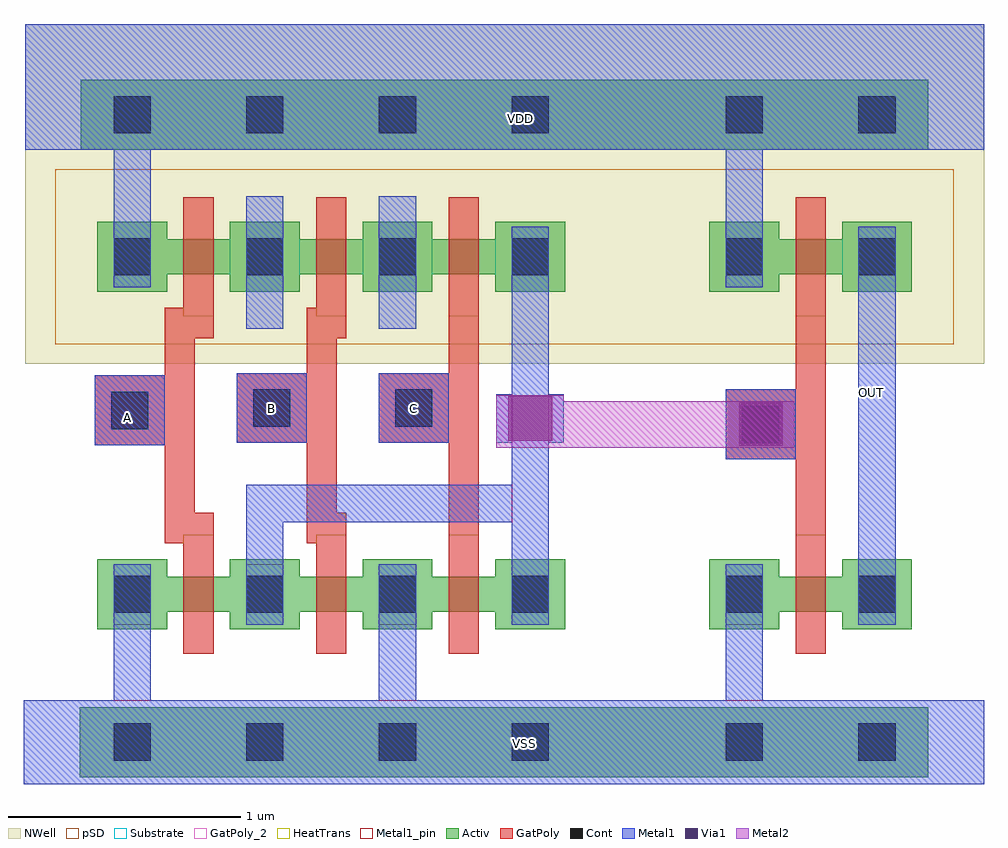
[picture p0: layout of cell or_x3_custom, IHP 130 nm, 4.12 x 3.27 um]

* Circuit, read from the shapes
.subckt or_x3_custom A B C OUT VDD VSS
XM1 nor_x3_custom_0/OUT A VSS VSS sg13_lv_nmos w=0.15u l=0.13u
XM2 VSS B nor_x3_custom_0/OUT VSS sg13_lv_nmos w=0.15u l=0.13u
XM3 nor_x3_custom_0/OUT C VSS VSS sg13_lv_nmos w=0.15u l=0.13u
XM4 OUT nor_x3_custom_0/OUT VSS VSS sg13_lv_nmos w=0.15u l=0.13u
XM5 n1 A VDD VDD sg13_lv_pmos w=0.15u l=0.13u
XM6 n2 B n1 VDD sg13_lv_pmos w=0.15u l=0.13u
XM7 nor_x3_custom_0/OUT C n2 VDD sg13_lv_pmos w=0.15u l=0.13u
XM8 OUT nor_x3_custom_0/OUT VDD VDD sg13_lv_pmos w=0.15u l=0.13u
.ends

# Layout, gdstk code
from math import pi, radians
import gdstk
lib = gdstk.Library(unit=1e-6, precision=5e-09)
def R(c, l, rs):  # rectangles x0, y0, x1, y1
    for r in rs: c.add(gdstk.rectangle(r[:2], r[2:], *l))
def A(c, l, x, y, w, h, nx, ny, dx, dy):  # array of equal rectangles
    R(c, l, [(x+i*dx, y+j*dy, x+i*dx+w, y+j*dy+h) for i in range(nx) for j in range(ny)])
Activ = (1, 0)
GatPoly = (5, 0)
GatPoly_2 = (5, 2)
Cont = (6, 0)
Metal1 = (8, 0)
Metal1_pin = (8, 2)
Metal2 = (10, 0)
pSD = (14, 0)
Via1 = (19, 0)
NWell = (31, 0)
Substrate = (40, 0)
HeatTrans = (51, 0)

pmos = lib.new_cell('pmos')
R(pmos, Activ, [(0,0,0.3,0.3), (0.57,0,0.87,0.3), (0,0.075,0.87,0.225)])
R(pmos, GatPoly, [(0.37,-0.105,0.5,0.405), (0.37,-0.105,0.5,0.405)])
R(pmos, Cont, [(0.07,0.07,0.23,0.23), (0.64,0.07,0.8,0.23)])
R(pmos, Metal1, [(0.07,0.02,0.23,0.28), (0.07,0.02,0.23,0.28), (0.64,0.02,0.8,0.28), (0.64,0.02,0.8,0.28)])
R(pmos, pSD, [(-0.18,-0.225,1.05,0.525)])
R(pmos, NWell, [(-0.31,-0.31,1.18,0.61)])
R(pmos, Substrate, [(0.57,0,0.87,0.3)])
R(pmos, HeatTrans, [(0.37,-0.105,0.5,0.405)])
pmos.add(gdstk.Label('pmos', (0.435,0.15), layer=63, texttype=0))
pmos.add(gdstk.Label('pmos', (0.435,0.15), layer=51, texttype=0))

nmos = lib.new_cell('nmos')
R(nmos, Activ, [(0,0,0.3,0.3), (0.57,0,0.87,0.3), (0,0.075,0.87,0.225)])
R(nmos, GatPoly, [(0.37,-0.105,0.5,0.405)])
R(nmos, GatPoly_2, [(0.37,-0.105,0.5,0.405)])
R(nmos, Cont, [(0.07,0.07,0.23,0.23), (0.64,0.07,0.8,0.23)])
R(nmos, Metal1, [(0.07,0.02,0.23,0.28), (0.64,0.02,0.8,0.28)])
R(nmos, Metal1_pin, [(0.07,0.02,0.23,0.28), (0.64,0.02,0.8,0.28)])
R(nmos, HeatTrans, [(0.37,-0.105,0.5,0.405)])
nmos.add(gdstk.Label('nmos', (0.435,0.15), layer=63, texttype=0))
nmos.add(gdstk.Label('nmos', (0.435,0.15), layer=51, texttype=0))

nor_x3_custom = lib.new_cell('nor_x3_custom')
R(nor_x3_custom, Activ, [(1.225,0.545,3.37,0.845), (1.23,3.24,3.38,3.54)])
R(nor_x3_custom, GatPoly, [(2.81,1.075,2.94,3.035), (1.59,1.55,1.72,2.56), (1.59,1.55,1.8,1.68), (2.2,1.55,2.37,1.68), (2.2,1.55,2.33,2.56), (1.29,1.97,1.59,2.27), (1.9,1.98,2.2,2.28), (2.51,1.98,2.81,2.28), (1.59,2.43,1.8,2.56), (2.2,2.43,2.37,2.56)])
A(nor_x3_custom, Cont, 1.37, 0.615, 0.16, 0.16, 4, 2, 0.57, 2.695)
R(nor_x3_custom, Cont, [(1.36,2.04,1.52,2.2), (1.97,2.05,2.13,2.21), (2.58,2.05,2.74,2.21)])
R(nor_x3_custom, Metal1, [(0.985,0.515,3.615,0.875), (1.37,0.545,1.53,1.46), (2.51,0.545,2.67,1.46), (1.94,1.2,2.1,1.8), (3.08,1.2,3.24,2.91), (1.94,1.64,3.24,1.8), (1.29,1.97,1.59,2.27), (1.9,1.98,2.2,2.28), (2.51,1.98,2.81,2.28), (1.94,2.47,2.1,3.04), (2.51,2.47,2.67,3.04), (1.37,2.65,1.53,3.54), (0.99,3.24,3.62,3.78)])
R(nor_x3_custom, Metal1_pin, [(0.985,0.515,3.615,0.875), (3.08,1.22,3.24,2.91), (1.29,1.97,1.59,2.27), (1.9,1.98,2.2,2.28), (2.51,1.98,2.81,2.28), (0.99,3.24,3.62,3.78)])
R(nor_x3_custom, pSD, [(0.985,0.515,3.615,0.875)])
R(nor_x3_custom, NWell, [(0.99,3.24,3.62,3.78)])
nor_x3_custom.add(gdstk.Reference(pmos, (1.87,2.63)))
nor_x3_custom.add(gdstk.Reference(pmos, (2.44,2.63)))
nor_x3_custom.add(gdstk.Reference(nmos, (2.44,1.18)))
nor_x3_custom.add(gdstk.Reference(nmos, (2.74,1.48), rotation=pi))
nor_x3_custom.add(gdstk.Reference(pmos, (1.3,2.63)))
nor_x3_custom.add(gdstk.Reference(nmos, (1.3,1.18)))
nor_x3_custom.add(gdstk.Label('VSS', (1.995,0.665), layer=8, texttype=25))
nor_x3_custom.add(gdstk.Label('VDD', (1.985,3.345), layer=8, texttype=25))
nor_x3_custom.add(gdstk.Label('OUT', (3.095,2.33), layer=8, texttype=25))
nor_x3_custom.add(gdstk.Label('A', (1.42,2.09), layer=8, texttype=25))
nor_x3_custom.add(gdstk.Label('B', (2.045,2.095), layer=8, texttype=25))
nor_x3_custom.add(gdstk.Label('C', (2.61,2.1), layer=8, texttype=25))

pmos_1 = lib.new_cell('pmos$1')
R(pmos_1, Activ, [(0,0,0.3,0.3), (0.57,0,0.87,0.3), (0,0.075,0.87,0.225)])
R(pmos_1, GatPoly, [(0.37,-0.105,0.5,0.405), (0.37,-0.105,0.5,0.405)])
R(pmos_1, Cont, [(0.07,0.07,0.23,0.23), (0.64,0.07,0.8,0.23)])
R(pmos_1, Metal1, [(0.07,0.02,0.23,0.28), (0.07,0.02,0.23,0.28), (0.64,0.02,0.8,0.28), (0.64,0.02,0.8,0.28)])
R(pmos_1, pSD, [(-0.18,-0.225,1.05,0.525)])
R(pmos_1, NWell, [(-0.31,-0.31,1.18,0.61)])
R(pmos_1, Substrate, [(0.57,0,0.87,0.3)])
R(pmos_1, HeatTrans, [(0.37,-0.105,0.5,0.405)])
pmos_1.add(gdstk.Label('pmos', (0.435,0.15), layer=63, texttype=0))
pmos_1.add(gdstk.Label('pmos', (0.435,0.15), layer=51, texttype=0))

nmos_1 = lib.new_cell('nmos$1')
R(nmos_1, Activ, [(0,0,0.3,0.3), (0.57,0,0.87,0.3), (0,0.075,0.87,0.225)])
R(nmos_1, GatPoly, [(0.37,-0.105,0.5,0.405)])
R(nmos_1, GatPoly_2, [(0.37,-0.105,0.5,0.405)])
R(nmos_1, Cont, [(0.07,0.07,0.23,0.23), (0.64,0.07,0.8,0.23)])
R(nmos_1, Metal1, [(0.07,0.02,0.23,0.28), (0.64,0.02,0.8,0.28)])
R(nmos_1, Metal1_pin, [(0.07,0.02,0.23,0.28), (0.64,0.02,0.8,0.28)])
R(nmos_1, HeatTrans, [(0.37,-0.105,0.5,0.405)])
nmos_1.add(gdstk.Label('nmos', (0.435,0.15), layer=63, texttype=0))
nmos_1.add(gdstk.Label('nmos', (0.435,0.15), layer=51, texttype=0))

inv = lib.new_cell('inv')
R(inv, Activ, [(0.48,-0.04,1.49,0.26), (0.48,2.655,1.49,2.955)])
R(inv, GatPoly, [(0.92,0.76,1.05,2.45), (0.62,1.325,0.92,1.625)])
R(inv, Cont, [(0.62,0.03,0.78,0.19), (1.19,0.03,1.35,0.19), (0.69,1.395,0.85,1.555), (0.62,2.725,0.78,2.885), (1.19,2.725,1.35,2.885)])
R(inv, Metal1, [(0.24,-0.07,1.73,0.29), (0.62,-0.04,0.78,0.875), (1.19,0.615,1.35,2.325), (0.62,1.325,0.92,1.625), (0.62,2.065,0.78,2.955), (0.24,2.655,1.73,3.195)])
R(inv, Metal1_pin, [(0.24,-0.07,1.73,0.29), (1.19,0.615,1.35,2.325), (0.62,1.325,0.92,1.625), (0.24,2.655,1.73,3.195)])
R(inv, pSD, [(0.24,-0.07,1.73,0.29)])
R(inv, NWell, [(0.24,2.655,1.73,3.195)])
inv.add(gdstk.Reference(pmos_1, (0.55,2.045)))
inv.add(gdstk.Reference(nmos_1, (0.55,0.595)))
inv.add(gdstk.Label('VSS', (0.64,0.09), layer=8, texttype=25))
inv.add(gdstk.Label('VDD', (0.675,2.805), layer=8, texttype=25))
inv.add(gdstk.Label('VIN', (0.73,1.475), layer=8, texttype=25))
inv.add(gdstk.Label('VOUT', (1.2,1.665), layer=8, texttype=25))

or_x3_custom = lib.new_cell('or_x3_custom')
R(or_x3_custom, Activ, [(3.37,0.545,3.86,0.845), (3.38,3.24,3.86,3.54)])
R(or_x3_custom, Metal1, [(0.985,0.515,5.11,0.875), (4.005,1.955,4.295,2.165), (3.015,1.98,3.305,2.19)])
R(or_x3_custom, Metal1_pin, [(0.985,0.515,5.11,0.875), (4.57,1.2,4.73,2.91), (4,1.91,4.3,2.21), (1.29,1.97,1.59,2.27), (1.9,1.98,2.2,2.28), (2.51,1.98,2.81,2.28), (0.99,3.24,5.11,3.78)])
R(or_x3_custom, Metal2, [(3.015,1.96,4.295,2.16), (3.015,1.96,3.305,2.185), (4.005,1.96,4.295,2.16), (3.015,1.985,3.305,2.185)])
R(or_x3_custom, pSD, [(0.985,0.515,5.11,0.875), (3.49,2.405,3.75,3.155)])
R(or_x3_custom, Via1, [(4.055,1.965,4.245,2.155), (3.065,1.99,3.255,2.18)])
or_x3_custom.add(gdstk.Reference(nor_x3_custom, (0,0)))
or_x3_custom.add(gdstk.Reference(inv, (3.38,0.585)))
or_x3_custom.add(gdstk.Label('VSS', (3.135,0.69), layer=8, texttype=25))
or_x3_custom.add(gdstk.Label('VDD', (3.12,3.375), layer=8, texttype=25))
or_x3_custom.add(gdstk.Label('A', (1.43,2.09), layer=8, texttype=25))
or_x3_custom.add(gdstk.Label('B', (2.05,2.13), layer=8, texttype=25))
or_x3_custom.add(gdstk.Label('C', (2.66,2.13), layer=8, texttype=25))
or_x3_custom.add(gdstk.Label('OUT', (4.625,2.195), layer=8, texttype=25))

lib.write_gds('or_x3_custom.gds')
